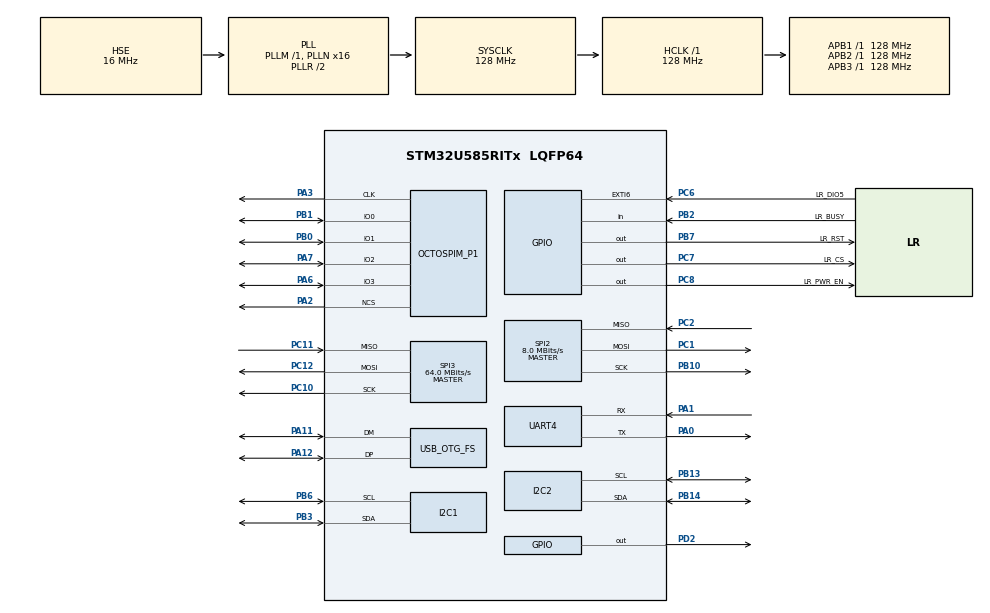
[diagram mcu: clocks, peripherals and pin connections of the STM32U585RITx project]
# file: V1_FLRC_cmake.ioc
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CORTEX_M33_NS.userName=CORTEX_M33
I2C1.Timing=0x20A0C4DF
I2C2.Timing=0x20A0C4DF
Mcu.Family=STM32U5
Mcu.Name=STM32U585RITx
Mcu.Package=LQFP64
NVIC.EXTI6_IRQn=true\:0\:0\:false\:false\:true\:true\:true\:true
NVIC.OTG_FS_IRQn=true\:0\:0\:false\:false\:true\:true\:true\:true
NVIC.PriorityGroup=NVIC_PRIORITYGROUP_4
OCTOSPI1.ClockPrescaler=2
OCTOSPI1.DeviceSize=22
PA0.Mode=Asynchronous
PA0.Signal=UART4_TX
PA1.Mode=Asynchronous
PA1.Signal=UART4_RX
PA11.Mode=Device_Only
PA11.Signal=USB_OTG_FS_DM
PA12.Mode=Device_Only
PA12.Signal=USB_OTG_FS_DP
PA13\ (JTMS/SWDIO).Mode=Serial_Wire
PA13\ (JTMS/SWDIO).Signal=DEBUG_JTMS-SWDIO
PA14\ (JTCK/SWCLK).Mode=Serial_Wire
PA14\ (JTCK/SWCLK).Signal=DEBUG_JTCK-SWCLK
PA2.Mode=OCTOSPI1_Port1_NCS
PA2.Signal=OCTOSPIM_P1_NCS
PA3.Mode=O1_P1_CLK
PA3.Signal=OCTOSPIM_P1_CLK
PA6.Mode=OCTOSPI1_IOL_Port1L
PA6.Signal=OCTOSPIM_P1_IO3
PA7.Mode=OCTOSPI1_IOL_Port1L
PA7.Signal=OCTOSPIM_P1_IO2
PB0.Mode=OCTOSPI1_IOL_Port1L
PB0.Signal=OCTOSPIM_P1_IO1
PB1.Mode=OCTOSPI1_IOL_Port1L
PB1.Signal=OCTOSPIM_P1_IO0
PB10.Mode=Full_Duplex_Master
PB10.Signal=SPI2_SCK
PB13.Mode=I2C
PB13.Signal=I2C2_SCL
PB14.Mode=I2C
PB14.Signal=I2C2_SDA
PB2.GPIO_Label=LR_BUSY
PB2.Signal=GPIO_Input
PB3\ (JTDO/TRACESWO).Mode=I2C
PB3\ (JTDO/TRACESWO).Signal=I2C1_SDA
PB6.Mode=I2C
PB6.Signal=I2C1_SCL
PB7.GPIO_Label=LR_RST
PB7.GPIO_ModeDefaultOutputPP=GPIO_MODE_OUTPUT_PP
PB7.GPIO_PuPd=GPIO_NOPULL
PB7.PinState=GPIO_PIN_SET
PB7.Signal=GPIO_Output
PC1.Mode=Full_Duplex_Master
PC1.Signal=SPI2_MOSI
PC10.Mode=Full_Duplex_Master
PC10.Signal=SPI3_SCK
PC11.Mode=Full_Duplex_Master
PC11.Signal=SPI3_MISO
PC12.Mode=Full_Duplex_Master
PC12.Signal=SPI3_MOSI
PC14-OSC32_IN\ (PC14).Mode=LSE-External-Oscillator
PC14-OSC32_IN\ (PC14).Signal=RCC_OSC32_IN
PC15-OSC32_OUT\ (PC15).Mode=LSE-External-Oscillator
PC15-OSC32_OUT\ (PC15).Signal=RCC_OSC32_OUT
PC2.Mode=Full_Duplex_Master
PC2.Signal=SPI2_MISO
PC6.GPIO_Label=LR_DIO5
PC6.Signal=GPXTI6
PC7.GPIO_Label=LR_CS
PC7.PinState=GPIO_PIN_SET
PC7.Signal=GPIO_Output
PC8.GPIO_Label=LR_PWR_EN
PC8.Signal=GPIO_Output
PD2.Signal=GPIO_Output
PH0-OSC_IN\ (PH0).Mode=HSE-External-Oscillator
PH0-OSC_IN\ (PH0).Signal=RCC_OSC_IN
PH1-OSC_OUT\ (PH1).Mode=HSE-External-Oscillator
PH1-OSC_OUT\ (PH1).Signal=RCC_OSC_OUT
ProjectManager.HeapSize=0x200
ProjectManager.StackSize=0x400
ProjectManager.TargetToolchain=CMake
RCC.ADCFreq_Value=16000000
RCC.AHBFreq_Value=128000000
RCC.APB1Freq_Value=128000000
RCC.APB1TimFreq_Value=128000000
RCC.APB2Freq_Value=128000000
RCC.APB2TimFreq_Value=128000000
RCC.APB3Freq_Value=128000000
RCC.CortexFreq_Value=128000000
RCC.EPOD_VALUE=16000000
RCC.HCLKFreq_Value=128000000
RCC.HSE_VALUE=16000000
RCC.HSI48_VALUE=48000000
RCC.HSI_VALUE=16000000
RCC.LSIDIV_VALUE=32000
RCC.MSI_VALUE=4000000
RCC.PLLN=16
RCC.PLLSourceVirtual=RCC_PLLSOURCE_HSE
RCC.SYSCLKFreq_VALUE=128000000
RCC.SYSCLKSource=RCC_SYSCLKSOURCE_PLLCLK
RCC.USBFreq_Value=48000000
RCC.VCOOutputFreq_Value=256000000
SPI2.BaudRatePrescaler=SPI_BAUDRATEPRESCALER_16
SPI2.CalculateBaudRate=8.0 MBits/s
SPI2.DataSize=SPI_DATASIZE_8BIT
SPI2.Direction=SPI_DIRECTION_2LINES
SPI2.Mode=SPI_MODE_MASTER
SPI2.VirtualType=VM_MASTER
SPI3.CalculateBaudRate=64.0 MBits/s
SPI3.Direction=SPI_DIRECTION_2LINES
SPI3.Mode=SPI_MODE_MASTER
SPI3.VirtualType=VM_MASTER
USB_OTG_FS.VirtualMode=Device_Only
VP_ICACHE_VS_ICACHE.Mode=DirectMappedCache
VP_LPBAMQUEUE_VS_QUEUE.Mode=QUEUEMODE
VP_LPBAM_VS_SIG1.Mode=SmartRun
VP_LPBAM_VS_SIG4.Mode=LPDMA1
VP_MEMORYMAP_VS_MEMORYMAP.Mode=CurAppReg
VP_OCTOSPI1_VS_quad.Mode=quad_mode
VP_PWR_VS_SECSignals.Mode=Security/Privilege
board=custom

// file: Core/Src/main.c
/* USER CODE BEGIN Header */
/**
  ******************************************************************************
  * @file           : main.c
  * @brief          : Main program body
  ******************************************************************************
  * @attention
  *
  * Copyright (c) 2026 STMicroelectronics.
  * All rights reserved.
  *
  * This software is licensed under terms that can be found in the LICENSE file
  * in the root directory of this software component.
  * If no LICENSE file comes with this software, it is provided AS-IS.
  *
  ******************************************************************************
  */
/* USER CODE END Header */
#include "main.h"

/* USER CODE BEGIN Includes */
#include <stdlib.h>
#include <stdio.h>

#include "tusb.h"
#include "tusb_config.h"
#include "icm20948.h"
#include "lr2021.h"
#include "comm.h"

/* USER CODE END Includes */

/* USER CODE BEGIN PD */
#define LORA_TX_INTERVAL_MS 2U
#define LR2021_IRQ_POLL_INTERVAL_MS 100U

/* USER CODE END PD */

I2C_HandleTypeDef hi2c1;
I2C_HandleTypeDef hi2c2;

OSPI_HandleTypeDef hospi1;

SPI_HandleTypeDef hspi2;
SPI_HandleTypeDef hspi3;

UART_HandleTypeDef huart4;

PCD_HandleTypeDef hpcd_USB_OTG_FS;

void SystemClock_Config(void);
static void MX_GPIO_Init(void);
static void MX_I2C1_Init(void);
static void MX_OCTOSPI1_Init(void);
static void MX_SPI2_Init(void);
static void MX_SPI3_Init(void);
static void MX_USB_OTG_FS_PCD_Init(void);
static void MX_I2C2_Init(void);
static void MX_UART4_Init(void);
static void MX_ICACHE_Init(void);

/* USER CODE BEGIN 0 */
int _write(int file, char *ptr, int len)
{
    if (tud_cdc_connected())
    {
        tud_cdc_write(ptr, len);
        tud_cdc_write_flush();
    }

    return len;
}
/* LR2021 IRQ flag (set from EXTI callback) */
volatile bool lr2021_irq_flag = false;

/* EXTI callback from HAL — mark IRQ for processing in main loop */
void HAL_GPIO_EXTI_Rising_Callback(uint16_t GPIO_Pin)
{
  if (GPIO_Pin == LR_DIO5_Pin) {
    lr2021_irq_flag = true;
  }
}
/* USER CODE END 0 */

int main(void)
{

  /* MCU Configuration--------------------------------------------------------*/

  /* Reset of all peripherals, Initializes the Flash interface and the Systick. */
  HAL_Init();

  /* Configure the system clock */
  SystemClock_Config();

  /* Initialize all configured peripherals */
  MX_GPIO_Init();
  MX_I2C1_Init();
  MX_OCTOSPI1_Init();
  MX_SPI2_Init();
  MX_SPI3_Init();
  MX_USB_OTG_FS_PCD_Init();
  MX_I2C2_Init();
  MX_UART4_Init();
  MX_ICACHE_Init();
  /* USER CODE BEGIN 2 */
  tusb_init();

  /* Enable LDO of LR2021 via PC8 */
  HAL_GPIO_WritePin(GPIOC, GPIO_PIN_8, GPIO_PIN_SET);
  HAL_Delay(10);

  if (LR2021_Init(&hspi2) != HAL_OK) {
    Error_Handler();
  }
  if (LR2021_SetMode(&hspi2, LR2021_MODE_LORA) != HAL_OK) {
    Error_Handler();
  }

  if (LR2021_LoRa_StartReceive(&hspi2, 0) != HAL_OK) {
    Error_Handler();
  }

  // uint32_t last_irq_poll_ms = HAL_GetTick();
  // if (LR2021_SetMode(&hspi2, LR2021_MODE_FLRC) != HAL_OK) {
  //   Error_Handler();
  // }

  /* USER CODE END 2 */

  /* Infinite loop */
  /* USER CODE BEGIN WHILE */

  while (1)
  {
    tud_task();

    update_comm(&lr2021_irq_flag);

    /* USER CODE END WHILE */

  }
}

void SystemClock_Config(void)
{
  RCC_OscInitTypeDef RCC_OscInitStruct = {0};
  RCC_ClkInitTypeDef RCC_ClkInitStruct = {0};

  /** Configure the main internal regulator output voltage
  */
  if (HAL_PWREx_ControlVoltageScaling(PWR_REGULATOR_VOLTAGE_SCALE1) != HAL_OK)
  {
    Error_Handler();
  }

  /** Initializes the CPU, AHB and APB buses clocks
  */
  RCC_OscInitStruct.OscillatorType = RCC_OSCILLATORTYPE_HSI48|RCC_OSCILLATORTYPE_HSE;
  RCC_OscInitStruct.HSEState = RCC_HSE_ON;
  RCC_OscInitStruct.HSI48State = RCC_HSI48_ON;
  RCC_OscInitStruct.PLL.PLLState = RCC_PLL_ON;
  RCC_OscInitStruct.PLL.PLLSource = RCC_PLLSOURCE_HSE;
  RCC_OscInitStruct.PLL.PLLMBOOST = RCC_PLLMBOOST_DIV1;
  RCC_OscInitStruct.PLL.PLLM = 1;
  RCC_OscInitStruct.PLL.PLLN = 16;
  RCC_OscInitStruct.PLL.PLLP = 2;
  RCC_OscInitStruct.PLL.PLLQ = 2;
  RCC_OscInitStruct.PLL.PLLR = 2;
  RCC_OscInitStruct.PLL.PLLRGE = RCC_PLLVCIRANGE_1;
  RCC_OscInitStruct.PLL.PLLFRACN = 0;
  if (HAL_RCC_OscConfig(&RCC_OscInitStruct) != HAL_OK)
  {
    Error_Handler();
  }

  /** Initializes the CPU, AHB and APB buses clocks
  */
  RCC_ClkInitStruct.ClockType = RCC_CLOCKTYPE_HCLK|RCC_CLOCKTYPE_SYSCLK
                              |RCC_CLOCKTYPE_PCLK1|RCC_CLOCKTYPE_PCLK2
                              |RCC_CLOCKTYPE_PCLK3;
  RCC_ClkInitStruct.SYSCLKSource = RCC_SYSCLKSOURCE_PLLCLK;
  RCC_ClkInitStruct.AHBCLKDivider = RCC_SYSCLK_DIV1;
  RCC_ClkInitStruct.APB1CLKDivider = RCC_HCLK_DIV1;
  RCC_ClkInitStruct.APB2CLKDivider = RCC_HCLK_DIV1;
  RCC_ClkInitStruct.APB3CLKDivider = RCC_HCLK_DIV1;

  if (HAL_RCC_ClockConfig(&RCC_ClkInitStruct, FLASH_LATENCY_3) != HAL_OK)
  {
    Error_Handler();
  }
}

static void MX_I2C1_Init(void)
{

  hi2c1.Instance = I2C1;
  hi2c1.Init.Timing = 0x20A0C4DF;
  hi2c1.Init.OwnAddress1 = 0;
  hi2c1.Init.AddressingMode = I2C_ADDRESSINGMODE_7BIT;
  hi2c1.Init.DualAddressMode = I2C_DUALADDRESS_DISABLE;
  hi2c1.Init.OwnAddress2 = 0;
  hi2c1.Init.OwnAddress2Masks = I2C_OA2_NOMASK;
  hi2c1.Init.GeneralCallMode = I2C_GENERALCALL_DISABLE;
  hi2c1.Init.NoStretchMode = I2C_NOSTRETCH_DISABLE;
  if (HAL_I2C_Init(&hi2c1) != HAL_OK)
  {
    Error_Handler();
  }

  /** Configure Analogue filter
  */
  if (HAL_I2CEx_ConfigAnalogFilter(&hi2c1, I2C_ANALOGFILTER_ENABLE) != HAL_OK)
  {
    Error_Handler();
  }

  /** Configure Digital filter
  */
  if (HAL_I2CEx_ConfigDigitalFilter(&hi2c1, 0) != HAL_OK)
  {
    Error_Handler();
  }

}

static void MX_I2C2_Init(void)
{

  hi2c2.Instance = I2C2;
  hi2c2.Init.Timing = 0x20A0C4DF;
  hi2c2.Init.OwnAddress1 = 0;
  hi2c2.Init.AddressingMode = I2C_ADDRESSINGMODE_7BIT;
  hi2c2.Init.DualAddressMode = I2C_DUALADDRESS_DISABLE;
  hi2c2.Init.OwnAddress2 = 0;
  hi2c2.Init.OwnAddress2Masks = I2C_OA2_NOMASK;
  hi2c2.Init.GeneralCallMode = I2C_GENERALCALL_DISABLE;
  hi2c2.Init.NoStretchMode = I2C_NOSTRETCH_DISABLE;
  if (HAL_I2C_Init(&hi2c2) != HAL_OK)
  {
    Error_Handler();
  }

  /** Configure Analogue filter
  */
  if (HAL_I2CEx_ConfigAnalogFilter(&hi2c2, I2C_ANALOGFILTER_ENABLE) != HAL_OK)
  {
    Error_Handler();
  }

  /** Configure Digital filter
  */
  if (HAL_I2CEx_ConfigDigitalFilter(&hi2c2, 0) != HAL_OK)
  {
    Error_Handler();
  }

}

static void MX_ICACHE_Init(void)
{

  /** Enable instruction cache in 1-way (direct mapped cache)
  */
  if (HAL_ICACHE_ConfigAssociativityMode(ICACHE_1WAY) != HAL_OK)
  {
    Error_Handler();
  }
  if (HAL_ICACHE_Enable() != HAL_OK)
  {
    Error_Handler();
  }

}

static void MX_OCTOSPI1_Init(void)
{

  OSPIM_CfgTypeDef sOspiManagerCfg = {0};

  /* OCTOSPI1 parameter configuration*/
  hospi1.Instance = OCTOSPI1;
  hospi1.Init.FifoThreshold = 1;
  hospi1.Init.DualQuad = HAL_OSPI_DUALQUAD_DISABLE;
  hospi1.Init.MemoryType = HAL_OSPI_MEMTYPE_MICRON;
  hospi1.Init.DeviceSize = 22;
  hospi1.Init.ChipSelectHighTime = 1;
  hospi1.Init.FreeRunningClock = HAL_OSPI_FREERUNCLK_DISABLE;
  hospi1.Init.ClockMode = HAL_OSPI_CLOCK_MODE_0;
  hospi1.Init.WrapSize = HAL_OSPI_WRAP_NOT_SUPPORTED;
  hospi1.Init.ClockPrescaler = 2;
  hospi1.Init.SampleShifting = HAL_OSPI_SAMPLE_SHIFTING_NONE;
  hospi1.Init.DelayHoldQuarterCycle = HAL_OSPI_DHQC_DISABLE;
  hospi1.Init.ChipSelectBoundary = 0;
  hospi1.Init.DelayBlockBypass = HAL_OSPI_DELAY_BLOCK_BYPASSED;
  hospi1.Init.MaxTran = 0;
  hospi1.Init.Refresh = 0;
  if (HAL_OSPI_Init(&hospi1) != HAL_OK)
  {
    Error_Handler();
  }
  sOspiManagerCfg.ClkPort = 1;
  sOspiManagerCfg.NCSPort = 1;
  sOspiManagerCfg.IOLowPort = HAL_OSPIM_IOPORT_1_LOW;
  if (HAL_OSPIM_Config(&hospi1, &sOspiManagerCfg, HAL_OSPI_TIMEOUT_DEFAULT_VALUE) != HAL_OK)
  {
    Error_Handler();
  }

}

static void MX_SPI2_Init(void)
{

  SPI_AutonomousModeConfTypeDef HAL_SPI_AutonomousMode_Cfg_Struct = {0};

  /* SPI2 parameter configuration*/
  hspi2.Instance = SPI2;
  hspi2.Init.Mode = SPI_MODE_MASTER;
  hspi2.Init.Direction = SPI_DIRECTION_2LINES;
  hspi2.Init.DataSize = SPI_DATASIZE_8BIT;
  hspi2.Init.CLKPolarity = SPI_POLARITY_LOW;
  hspi2.Init.CLKPhase = SPI_PHASE_1EDGE;
  hspi2.Init.NSS = SPI_NSS_SOFT;
  hspi2.Init.BaudRatePrescaler = SPI_BAUDRATEPRESCALER_16;
  hspi2.Init.FirstBit = SPI_FIRSTBIT_MSB;
  hspi2.Init.TIMode = SPI_TIMODE_DISABLE;
  hspi2.Init.CRCCalculation = SPI_CRCCALCULATION_DISABLE;
  hspi2.Init.CRCPolynomial = 0x7;
  hspi2.Init.NSSPMode = SPI_NSS_PULSE_ENABLE;
  hspi2.Init.NSSPolarity = SPI_NSS_POLARITY_LOW;
  hspi2.Init.FifoThreshold = SPI_FIFO_THRESHOLD_01DATA;
  hspi2.Init.MasterSSIdleness = SPI_MASTER_SS_IDLENESS_00CYCLE;
  hspi2.Init.MasterInterDataIdleness = SPI_MASTER_INTERDATA_IDLENESS_00CYCLE;
  hspi2.Init.MasterReceiverAutoSusp = SPI_MASTER_RX_AUTOSUSP_DISABLE;
  hspi2.Init.MasterKeepIOState = SPI_MASTER_KEEP_IO_STATE_DISABLE;
  hspi2.Init.IOSwap = SPI_IO_SWAP_DISABLE;
  hspi2.Init.ReadyMasterManagement = SPI_RDY_MASTER_MANAGEMENT_INTERNALLY;
  hspi2.Init.ReadyPolarity = SPI_RDY_POLARITY_HIGH;
  if (HAL_SPI_Init(&hspi2) != HAL_OK)
  {
    Error_Handler();
  }
  HAL_SPI_AutonomousMode_Cfg_Struct.TriggerState = SPI_AUTO_MODE_DISABLE;
  HAL_SPI_AutonomousMode_Cfg_Struct.TriggerSelection = SPI_GRP1_GPDMA_CH0_TCF_TRG;
  HAL_SPI_AutonomousMode_Cfg_Struct.TriggerPolarity = SPI_TRIG_POLARITY_RISING;
  if (HAL_SPIEx_SetConfigAutonomousMode(&hspi2, &HAL_SPI_AutonomousMode_Cfg_Struct) != HAL_OK)
  {
    Error_Handler();
  }

}

static void MX_SPI3_Init(void)
{

  SPI_AutonomousModeConfTypeDef HAL_SPI_AutonomousMode_Cfg_Struct = {0};

  /* SPI3 parameter configuration*/
  hspi3.Instance = SPI3;
  hspi3.Init.Mode = SPI_MODE_MASTER;
  hspi3.Init.Direction = SPI_DIRECTION_2LINES;
  hspi3.Init.DataSize = SPI_DATASIZE_8BIT;
  hspi3.Init.CLKPolarity = SPI_POLARITY_LOW;
  hspi3.Init.CLKPhase = SPI_PHASE_1EDGE;
  hspi3.Init.NSS = SPI_NSS_SOFT;
  hspi3.Init.BaudRatePrescaler = SPI_BAUDRATEPRESCALER_2;
  hspi3.Init.FirstBit = SPI_FIRSTBIT_MSB;
  hspi3.Init.TIMode = SPI_TIMODE_DISABLE;
  hspi3.Init.CRCCalculation = SPI_CRCCALCULATION_DISABLE;
  hspi3.Init.CRCPolynomial = 0x7;
  hspi3.Init.NSSPMode = SPI_NSS_PULSE_ENABLE;
  hspi3.Init.NSSPolarity = SPI_NSS_POLARITY_LOW;
  hspi3.Init.FifoThreshold = SPI_FIFO_THRESHOLD_01DATA;
  hspi3.Init.MasterSSIdleness = SPI_MASTER_SS_IDLENESS_00CYCLE;
  hspi3.Init.MasterInterDataIdleness = SPI_MASTER_INTERDATA_IDLENESS_00CYCLE;
  hspi3.Init.MasterReceiverAutoSusp = SPI_MASTER_RX_AUTOSUSP_DISABLE;
  hspi3.Init.MasterKeepIOState = SPI_MASTER_KEEP_IO_STATE_DISABLE;
  hspi3.Init.IOSwap = SPI_IO_SWAP_DISABLE;
  hspi3.Init.ReadyMasterManagement = SPI_RDY_MASTER_MANAGEMENT_INTERNALLY;
  hspi3.Init.ReadyPolarity = SPI_RDY_POLARITY_HIGH;
  if (HAL_SPI_Init(&hspi3) != HAL_OK)
  {
    Error_Handler();
  }
  HAL_SPI_AutonomousMode_Cfg_Struct.TriggerState = SPI_AUTO_MODE_DISABLE;
  HAL_SPI_AutonomousMode_Cfg_Struct.TriggerSelection = SPI_GRP2_LPDMA_CH0_TCF_TRG;
  HAL_SPI_AutonomousMode_Cfg_Struct.TriggerPolarity = SPI_TRIG_POLARITY_RISING;
  if (HAL_SPIEx_SetConfigAutonomousMode(&hspi3, &HAL_SPI_AutonomousMode_Cfg_Struct) != HAL_OK)
  {
    Error_Handler();
  }

}

static void MX_UART4_Init(void)
{

  huart4.Instance = UART4;
  huart4.Init.BaudRate = 115200;
  huart4.Init.WordLength = UART_WORDLENGTH_8B;
  huart4.Init.StopBits = UART_STOPBITS_1;
  huart4.Init.Parity = UART_PARITY_NONE;
  huart4.Init.Mode = UART_MODE_TX_RX;
  huart4.Init.HwFlowCtl = UART_HWCONTROL_NONE;
  huart4.Init.OverSampling = UART_OVERSAMPLING_16;
  huart4.Init.OneBitSampling = UART_ONE_BIT_SAMPLE_DISABLE;
  huart4.Init.ClockPrescaler = UART_PRESCALER_DIV1;
  huart4.AdvancedInit.AdvFeatureInit = UART_ADVFEATURE_NO_INIT;
  if (HAL_UART_Init(&huart4) != HAL_OK)
  {
    Error_Handler();
  }
  if (HAL_UARTEx_SetTxFifoThreshold(&huart4, UART_TXFIFO_THRESHOLD_1_8) != HAL_OK)
  {
    Error_Handler();
  }
  if (HAL_UARTEx_SetRxFifoThreshold(&huart4, UART_RXFIFO_THRESHOLD_1_8) != HAL_OK)
  {
    Error_Handler();
  }
  if (HAL_UARTEx_DisableFifoMode(&huart4) != HAL_OK)
  {
    Error_Handler();
  }

}

static void MX_USB_OTG_FS_PCD_Init(void)
{

  hpcd_USB_OTG_FS.Instance = USB_OTG_FS;
  hpcd_USB_OTG_FS.Init.dev_endpoints = 6;
  hpcd_USB_OTG_FS.Init.speed = PCD_SPEED_FULL;
  hpcd_USB_OTG_FS.Init.phy_itface = PCD_PHY_EMBEDDED;
  hpcd_USB_OTG_FS.Init.Sof_enable = DISABLE;
  hpcd_USB_OTG_FS.Init.low_power_enable = DISABLE;
  hpcd_USB_OTG_FS.Init.lpm_enable = DISABLE;
  hpcd_USB_OTG_FS.Init.battery_charging_enable = DISABLE;
  hpcd_USB_OTG_FS.Init.use_dedicated_ep1 = DISABLE;
  hpcd_USB_OTG_FS.Init.vbus_sensing_enable = DISABLE;
  hpcd_USB_OTG_FS.Init.dma_enable = DISABLE;
  if (HAL_PCD_Init(&hpcd_USB_OTG_FS) != HAL_OK)
  {
    Error_Handler();
  }

}

static void MX_GPIO_Init(void)
{
  GPIO_InitTypeDef GPIO_InitStruct = {0};

  /* GPIO Ports Clock Enable */
  __HAL_RCC_GPIOC_CLK_ENABLE();
  __HAL_RCC_GPIOH_CLK_ENABLE();
  __HAL_RCC_GPIOA_CLK_ENABLE();
  __HAL_RCC_GPIOB_CLK_ENABLE();
  __HAL_RCC_GPIOD_CLK_ENABLE();

  /*Configure GPIO pin Output Level */
  HAL_GPIO_WritePin(LR_CS_GPIO_Port, LR_CS_Pin, GPIO_PIN_SET);

  /*Configure GPIO pin Output Level */
  HAL_GPIO_WritePin(LR_PWR_EN_GPIO_Port, LR_PWR_EN_Pin, GPIO_PIN_RESET);

  /*Configure GPIO pin Output Level */
  HAL_GPIO_WritePin(GPIOD, GPIO_PIN_2, GPIO_PIN_RESET);

  /*Configure GPIO pin Output Level */
  HAL_GPIO_WritePin(LR_RST_GPIO_Port, LR_RST_Pin, GPIO_PIN_SET);

  /*Configure GPIO pin : LR_BUSY_Pin */
  GPIO_InitStruct.Pin = LR_BUSY_Pin;
  GPIO_InitStruct.Mode = GPIO_MODE_INPUT;
  GPIO_InitStruct.Pull = GPIO_NOPULL;
  HAL_GPIO_Init(LR_BUSY_GPIO_Port, &GPIO_InitStruct);

  /*Configure GPIO pin : LR_DIO5_Pin */
  GPIO_InitStruct.Pin = LR_DIO5_Pin;
  GPIO_InitStruct.Mode = GPIO_MODE_IT_RISING;
  GPIO_InitStruct.Pull = GPIO_NOPULL;
  HAL_GPIO_Init(LR_DIO5_GPIO_Port, &GPIO_InitStruct);

  /*Configure GPIO pins : LR_CS_Pin LR_PWR_EN_Pin */
  GPIO_InitStruct.Pin = LR_CS_Pin|LR_PWR_EN_Pin;
  GPIO_InitStruct.Mode = GPIO_MODE_OUTPUT_PP;
  GPIO_InitStruct.Pull = GPIO_NOPULL;
  GPIO_InitStruct.Speed = GPIO_SPEED_FREQ_LOW;
  HAL_GPIO_Init(GPIOC, &GPIO_InitStruct);

  /*Configure GPIO pin : PD2 */
  GPIO_InitStruct.Pin = GPIO_PIN_2;
  GPIO_InitStruct.Mode = GPIO_MODE_OUTPUT_PP;
  GPIO_InitStruct.Pull = GPIO_NOPULL;
  GPIO_InitStruct.Speed = GPIO_SPEED_FREQ_LOW;
  HAL_GPIO_Init(GPIOD, &GPIO_InitStruct);

  /*Configure GPIO pin : LR_RST_Pin */
  GPIO_InitStruct.Pin = LR_RST_Pin;
  GPIO_InitStruct.Mode = GPIO_MODE_OUTPUT_PP;
  GPIO_InitStruct.Pull = GPIO_NOPULL;
  GPIO_InitStruct.Speed = GPIO_SPEED_FREQ_LOW;
  HAL_GPIO_Init(LR_RST_GPIO_Port, &GPIO_InitStruct);

  /* EXTI interrupt init*/
  HAL_NVIC_SetPriority(EXTI6_IRQn, 0, 0);
  HAL_NVIC_EnableIRQ(EXTI6_IRQn);

  /* USER CODE BEGIN MX_GPIO_Init_2 */

  /* LR2021 CS (PC7) — active-low, default high (deselected) */
  HAL_GPIO_WritePin(LR2021_CS_PORT, LR2021_CS_PIN, GPIO_PIN_SET);
  GPIO_InitStruct.Pin   = LR2021_CS_PIN;
  GPIO_InitStruct.Mode  = GPIO_MODE_OUTPUT_PP;
  GPIO_InitStruct.Pull  = GPIO_NOPULL;
  GPIO_InitStruct.Speed = GPIO_SPEED_FREQ_HIGH;
  HAL_GPIO_Init(LR2021_CS_PORT, &GPIO_InitStruct);

  /* LR2021 BUSY (PB2) — input, pull-up; chip drives HIGH while processing */
  GPIO_InitStruct.Pin  = LR2021_BUSY_PIN;
  GPIO_InitStruct.Mode = GPIO_MODE_INPUT;
  GPIO_InitStruct.Pull = GPIO_PULLUP;
  HAL_GPIO_Init(LR2021_BUSY_PORT, &GPIO_InitStruct);

  /* LR2021 RESET (PB7) — active-low, default high (not in reset) */
  HAL_GPIO_WritePin(LR2021_RESET_PORT, LR2021_RESET_PIN, GPIO_PIN_SET);
  GPIO_InitStruct.Pin   = LR2021_RESET_PIN;
  GPIO_InitStruct.Mode  = GPIO_MODE_OUTPUT_PP;
  GPIO_InitStruct.Pull  = GPIO_NOPULL;
  GPIO_InitStruct.Speed = GPIO_SPEED_FREQ_LOW;
  HAL_GPIO_Init(LR2021_RESET_PORT, &GPIO_InitStruct);

  /* LR2021 IRQ/DIO5 (PC6) — input, no pull; active-high from radio */
  GPIO_InitStruct.Pin  = LR2021_IRQ_PIN;
  GPIO_InitStruct.Mode = GPIO_MODE_IT_RISING;
  GPIO_InitStruct.Pull = GPIO_NOPULL;
  HAL_GPIO_Init(LR2021_IRQ_PORT, &GPIO_InitStruct);

  /* USER CODE END MX_GPIO_Init_2 */
}

void Error_Handler(void)
{
  __disable_irq();
  while (1)
  {
  }
}
